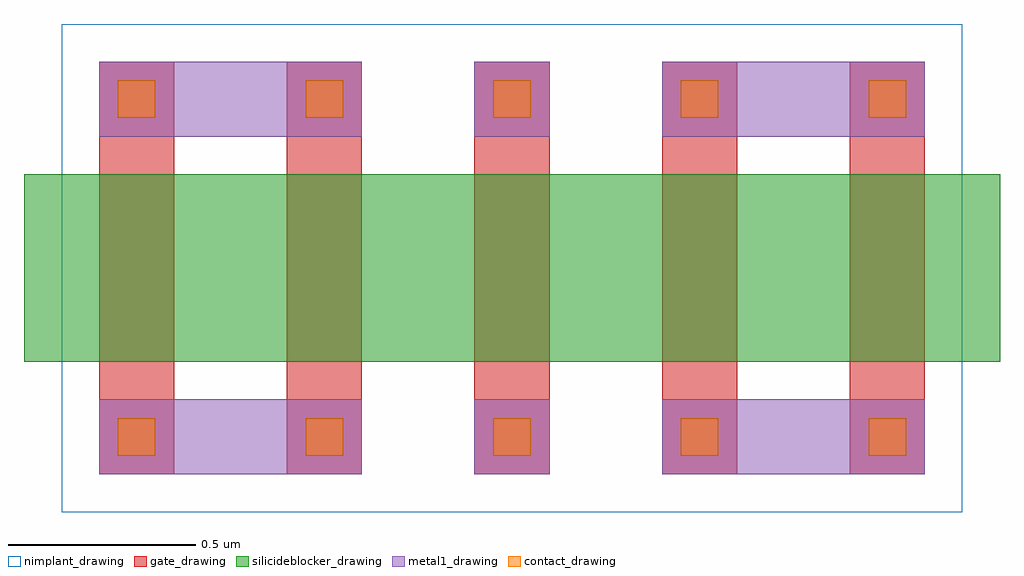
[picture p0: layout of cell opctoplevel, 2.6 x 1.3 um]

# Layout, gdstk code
import gdstk
lib = gdstk.Library(unit=1e-6, precision=1e-09)
def R(c, l, rs):  # rectangles x0, y0, x1, y1
    for r in rs: c.add(gdstk.rectangle(r[:2], r[2:], *l))
def A(c, l, x, y, w, h, nx, ny, dx, dy):  # array of equal rectangles
    R(c, l, [(x+i*dx, y+j*dy, x+i*dx+w, y+j*dy+h) for i in range(nx) for j in range(ny)])
nimplant_drawing = (5, 0)
gate_drawing = (6, 0)
contact_drawing = (7, 0)
metal1_drawing = (8, 0)
silicideblocker_drawing = (28, 0)

opctoplevel = lib.new_cell('opctoplevel')
R(opctoplevel, nimplant_drawing, [(-0.1,-0.1,2.3,1.2)])
A(opctoplevel, gate_drawing, 0, 0, 0.2, 1.1, 5, 1, 0.5, 0)
A(opctoplevel, gate_drawing, 0, 0, 0.2, 0.2, 5, 2, 0.5, 0.9)
A(opctoplevel, contact_drawing, 0.05, 0.05, 0.1, 0.1, 5, 2, 0.5, 0.9)
A(opctoplevel, metal1_drawing, 0, 0, 0.2, 0.2, 3, 2, 0.5, 0.9)
A(opctoplevel, metal1_drawing, 1, 0, 0.2, 0.2, 3, 2, 0.5, 0.9)
R(opctoplevel, metal1_drawing, [(0,0,0.7,0.2), (1.5,0,2.2,0.2), (0,0.9,0.7,1.1), (1.5,0.9,2.2,1.1)])
R(opctoplevel, silicideblocker_drawing, [(-0.2,0.3,2.4,0.8)])

lib.write_gds('opctoplevel.gds')
